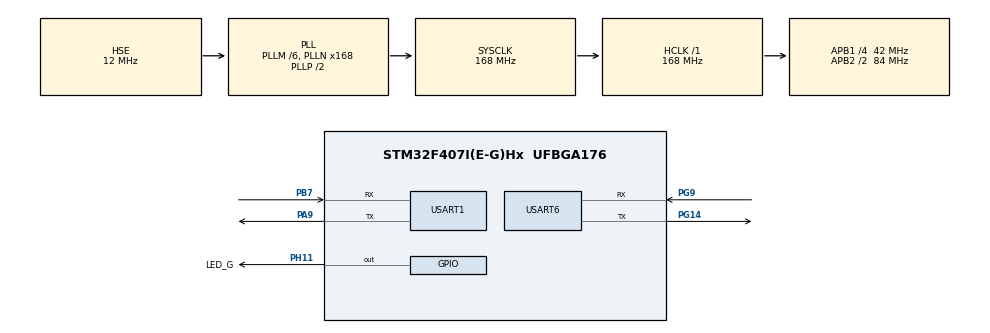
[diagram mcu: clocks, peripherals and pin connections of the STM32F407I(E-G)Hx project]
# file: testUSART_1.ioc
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Dma.Request0=USART1_RX
Dma.Request1=USART1_TX
Dma.Request2=USART6_RX
Dma.Request3=USART6_TX
Dma.USART1_RX.0.Direction=DMA_PERIPH_TO_MEMORY
Dma.USART1_RX.0.FIFOMode=DMA_FIFOMODE_DISABLE
Dma.USART1_RX.0.Instance=DMA2_Stream2
Dma.USART1_RX.0.MemDataAlignment=DMA_MDATAALIGN_BYTE
Dma.USART1_RX.0.MemInc=DMA_MINC_ENABLE
Dma.USART1_RX.0.Mode=DMA_CIRCULAR
Dma.USART1_RX.0.PeriphDataAlignment=DMA_PDATAALIGN_BYTE
Dma.USART1_RX.0.PeriphInc=DMA_PINC_DISABLE
Dma.USART1_RX.0.Priority=DMA_PRIORITY_LOW
Dma.USART1_TX.1.Direction=DMA_MEMORY_TO_PERIPH
Dma.USART1_TX.1.FIFOMode=DMA_FIFOMODE_DISABLE
Dma.USART1_TX.1.Instance=DMA2_Stream7
Dma.USART1_TX.1.MemDataAlignment=DMA_MDATAALIGN_BYTE
Dma.USART1_TX.1.MemInc=DMA_MINC_ENABLE
Dma.USART1_TX.1.Mode=DMA_NORMAL
Dma.USART1_TX.1.PeriphDataAlignment=DMA_PDATAALIGN_BYTE
Dma.USART1_TX.1.PeriphInc=DMA_PINC_DISABLE
Dma.USART1_TX.1.Priority=DMA_PRIORITY_LOW
Dma.USART6_RX.2.Direction=DMA_PERIPH_TO_MEMORY
Dma.USART6_RX.2.FIFOMode=DMA_FIFOMODE_DISABLE
Dma.USART6_RX.2.Instance=DMA2_Stream1
Dma.USART6_RX.2.MemDataAlignment=DMA_MDATAALIGN_BYTE
Dma.USART6_RX.2.MemInc=DMA_MINC_ENABLE
Dma.USART6_RX.2.Mode=DMA_CIRCULAR
Dma.USART6_RX.2.PeriphDataAlignment=DMA_PDATAALIGN_BYTE
Dma.USART6_RX.2.PeriphInc=DMA_PINC_DISABLE
Dma.USART6_RX.2.Priority=DMA_PRIORITY_LOW
Dma.USART6_TX.3.Direction=DMA_MEMORY_TO_PERIPH
Dma.USART6_TX.3.FIFOMode=DMA_FIFOMODE_DISABLE
Dma.USART6_TX.3.Instance=DMA2_Stream6
Dma.USART6_TX.3.MemDataAlignment=DMA_MDATAALIGN_BYTE
Dma.USART6_TX.3.MemInc=DMA_MINC_ENABLE
Dma.USART6_TX.3.Mode=DMA_NORMAL
Dma.USART6_TX.3.PeriphDataAlignment=DMA_PDATAALIGN_BYTE
Dma.USART6_TX.3.PeriphInc=DMA_PINC_DISABLE
Dma.USART6_TX.3.Priority=DMA_PRIORITY_LOW
Mcu.Family=STM32F4
Mcu.Name=STM32F407I(E-G)Hx
Mcu.Package=UFBGA176
NVIC.DMA2_Stream1_IRQn=true\:0\:0\:false\:false\:true\:false\:true\:true
NVIC.DMA2_Stream2_IRQn=true\:0\:0\:false\:false\:true\:false\:true\:true
NVIC.DMA2_Stream6_IRQn=true\:0\:0\:false\:false\:true\:false\:true\:true
NVIC.DMA2_Stream7_IRQn=true\:0\:0\:false\:false\:true\:false\:true\:true
NVIC.PriorityGroup=NVIC_PRIORITYGROUP_4
NVIC.USART1_IRQn=true\:0\:0\:false\:false\:true\:true\:true\:true
NVIC.USART6_IRQn=true\:0\:0\:false\:false\:true\:true\:true\:true
PA13.Mode=Serial_Wire
PA13.Signal=SYS_JTMS-SWDIO
PA14.Mode=Serial_Wire
PA14.Signal=SYS_JTCK-SWCLK
PA9.Mode=Asynchronous
PA9.Signal=USART1_TX
PB7.Mode=Asynchronous
PB7.Signal=USART1_RX
PG14.Mode=Asynchronous
PG14.Signal=USART6_TX
PG9.Mode=Asynchronous
PG9.Signal=USART6_RX
PH0-OSC_IN.Mode=HSE-External-Oscillator
PH0-OSC_IN.Signal=RCC_OSC_IN
PH1-OSC_OUT.Mode=HSE-External-Oscillator
PH1-OSC_OUT.Signal=RCC_OSC_OUT
PH11.GPIO_Label=LED_G
PH11.GPIO_PuPd=GPIO_PULLUP
PH11.Signal=GPIO_Output
ProjectManager.HeapSize=0x200
ProjectManager.StackSize=0x400
ProjectManager.TargetToolchain=MDK-ARM V5.32
RCC.48MHZClocksFreq_Value=84000000
RCC.AHBFreq_Value=168000000
RCC.APB1CLKDivider=RCC_HCLK_DIV4
RCC.APB1Freq_Value=42000000
RCC.APB1TimFreq_Value=84000000
RCC.APB2CLKDivider=RCC_HCLK_DIV2
RCC.APB2Freq_Value=84000000
RCC.APB2TimFreq_Value=168000000
RCC.CortexFreq_Value=168000000
RCC.HCLKFreq_Value=168000000
RCC.HSE_VALUE=12000000
RCC.HSI_VALUE=16000000
RCC.LSE_VALUE=32768
RCC.PLLM=6
RCC.PLLN=168
RCC.PLLSourceVirtual=RCC_PLLSOURCE_HSE
RCC.SYSCLKFreq_VALUE=168000000
RCC.SYSCLKSource=RCC_SYSCLKSOURCE_PLLCLK
RCC.VCOOutputFreq_Value=336000000
USART1.VirtualMode=VM_ASYNC
USART6.VirtualMode=VM_ASYNC
board=custom

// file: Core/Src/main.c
/* USER CODE BEGIN Header */
/**
  ******************************************************************************
  * @file           : main.c
  * @brief          : Main program body
  ******************************************************************************
  * @attention
  *
  * Copyright (c) 2023 STMicroelectronics.
  * All rights reserved.
  *
  * This software is licensed under terms that can be found in the LICENSE file
  * in the root directory of this software component.
  * If no LICENSE file comes with this software, it is provided AS-IS.
  *
  ******************************************************************************
  */
/* USER CODE END Header */
#include "main.h"
#include "dma.h"
#include "usart.h"
#include "gpio.h"

/* USER CODE BEGIN Includes */
#include "string.h"
/* USER CODE END Includes */

void SystemClock_Config(void);

/* USER CODE BEGIN 0 */
uint8_t Rx[128];
uint8_t data_length;
uint8_t begin = 0xA5;
uint8_t temp = 0x01;

typedef struct DaoHang{
	float nav_vx;
	float nav_vy;
	float nav_yaw;
}DH;

DH Tx;
/* USER CODE END 0 */

int main(void)
{

  /* MCU Configuration--------------------------------------------------------*/

  /* Reset of all peripherals, Initializes the Flash interface and the Systick. */
  HAL_Init();

  /* Configure the system clock */
  SystemClock_Config();

  /* Initialize all configured peripherals */
  MX_GPIO_Init();
  MX_DMA_Init();
  MX_USART6_UART_Init();
  MX_USART1_UART_Init();
  /* USER CODE BEGIN 2 */
	__HAL_UART_ENABLE_IT(&huart1,UART_IT_IDLE);
	HAL_UART_Receive_DMA(&huart1,(uint8_t *)Rx,128);
  /* USER CODE END 2 */

  /* Infinite loop */
  while (1)
  {

  }
}

void SystemClock_Config(void)
{
  RCC_OscInitTypeDef RCC_OscInitStruct = {0};
  RCC_ClkInitTypeDef RCC_ClkInitStruct = {0};

  /** Configure the main internal regulator output voltage
  */
  __HAL_RCC_PWR_CLK_ENABLE();
  __HAL_PWR_VOLTAGESCALING_CONFIG(PWR_REGULATOR_VOLTAGE_SCALE1);

  /** Initializes the RCC Oscillators according to the specified parameters
  * in the RCC_OscInitTypeDef structure.
  */
  RCC_OscInitStruct.OscillatorType = RCC_OSCILLATORTYPE_HSE;
  RCC_OscInitStruct.HSEState = RCC_HSE_ON;
  RCC_OscInitStruct.PLL.PLLState = RCC_PLL_ON;
  RCC_OscInitStruct.PLL.PLLSource = RCC_PLLSOURCE_HSE;
  RCC_OscInitStruct.PLL.PLLM = 6;
  RCC_OscInitStruct.PLL.PLLN = 168;
  RCC_OscInitStruct.PLL.PLLP = RCC_PLLP_DIV2;
  RCC_OscInitStruct.PLL.PLLQ = 4;
  if (HAL_RCC_OscConfig(&RCC_OscInitStruct) != HAL_OK)
  {
    Error_Handler();
  }

  /** Initializes the CPU, AHB and APB buses clocks
  */
  RCC_ClkInitStruct.ClockType = RCC_CLOCKTYPE_HCLK|RCC_CLOCKTYPE_SYSCLK
                              |RCC_CLOCKTYPE_PCLK1|RCC_CLOCKTYPE_PCLK2;
  RCC_ClkInitStruct.SYSCLKSource = RCC_SYSCLKSOURCE_PLLCLK;
  RCC_ClkInitStruct.AHBCLKDivider = RCC_SYSCLK_DIV1;
  RCC_ClkInitStruct.APB1CLKDivider = RCC_HCLK_DIV4;
  RCC_ClkInitStruct.APB2CLKDivider = RCC_HCLK_DIV2;

  if (HAL_RCC_ClockConfig(&RCC_ClkInitStruct, FLASH_LATENCY_5) != HAL_OK)
  {
    Error_Handler();
  }
}

/* USER CODE BEGIN 4 */
void HAL_UART_RxCpltCallback(UART_HandleTypeDef *huart)
{
	if(huart->Instance == USART1)
	{
		HAL_UART_DMAStop(&huart1);
		data_length = 128 - __HAL_DMA_GET_COUNTER(huart1.hdmarx);
//		if(data_length<64)
//			return;
//		else if(Rx[0]!=begin)
//			return;
//		else if(Rx[1]!=temp)
//			return;
		if(Rx[0]==begin && Rx[1]==temp){
			HAL_GPIO_TogglePin(LED_G_GPIO_Port,LED_G_Pin);
			memcpy(&Tx.nav_vx,&Rx[47],4);
			memcpy(&Tx.nav_vy,&Rx[51],4);
			memcpy(&Tx.nav_yaw,&Rx[55],4);
			HAL_UART_Transmit_DMA(&huart6,Rx,data_length);
			HAL_UART_Receive_DMA(&huart1,(uint8_t *)Rx,128);
		}
//		HAL_UART_Transmit_DMA(&huart6,Rx,data_length);
//		HAL_UART_Receive_DMA(&huart1,(uint8_t *)Rx,128);
	}
}
/* USER CODE END 4 */

void Error_Handler(void)
{
  __disable_irq();
  while (1)
  {
  }
}
